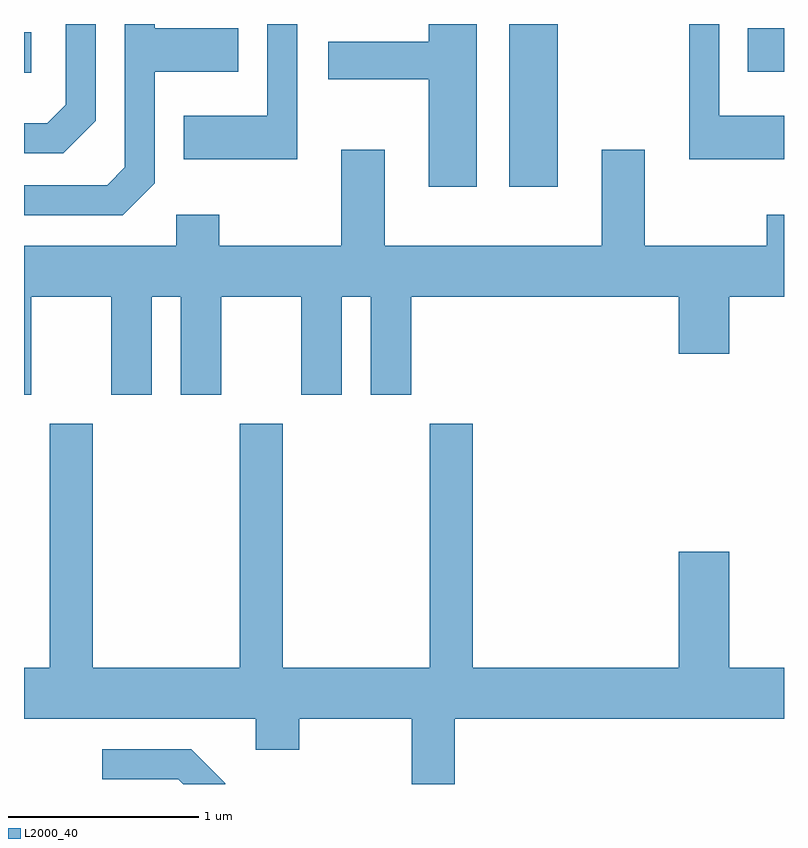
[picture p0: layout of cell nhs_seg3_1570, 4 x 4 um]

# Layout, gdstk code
import gdstk
lib = gdstk.Library(unit=1e-6, precision=1e-09)
def R(c, l, rs):  # rectangles x0, y0, x1, y1
    for r in rs: c.add(gdstk.rectangle(r[:2], r[2:], *l))
def P(c, l, *ps):  # polygons
    for p in ps: c.add(gdstk.Polygon(p, *l))
L2000_40 = (2000, 40)

nhs_seg3_1570 = lib.new_cell('nhs_seg3_1570')
R(nhs_seg3_1570, L2000_40, [(234.166,1131.036,234.419,1131.892), (231.611,1131.636,231.649,1131.849), (235.421,1131.641,235.611,1131.869)])
P(nhs_seg3_1570, L2000_40, [(232.299,1131.054),(232.299,1131.641),(232.739,1131.641),(232.739,1131.869),(232.299,1131.869),(232.299,1131.892),(232.141,1131.892),(232.141,1131.137),(232.049,1131.044),(231.611,1131.044),(231.611,1130.886),(232.132,1130.886)],
  [(235.611,1131.409),(235.269,1131.409),(235.269,1131.892),(235.111,1131.892),(235.111,1131.181),(235.611,1131.181)],
  [(233.049,1131.892),(232.891,1131.892),(232.891,1131.409),(232.451,1131.409),(232.451,1131.181),(233.049,1131.181)],
  [(231.989,1131.384),(231.989,1131.892),(231.831,1131.892),(231.831,1131.467),(231.734,1131.369),(231.611,1131.369),(231.611,1131.211),(231.817,1131.211)],
  [(233.994,1131.892),(233.741,1131.892),(233.741,1131.799),(233.211,1131.799),(233.211,1131.601),(233.741,1131.601),(233.741,1131.036),(233.994,1131.036)],
  [(231.649,1130.456),(232.071,1130.456),(232.071,1129.941),(232.284,1129.941),(232.284,1130.456),(232.436,1130.456),(232.436,1129.941),(232.649,1129.941),(232.649,1130.456),(233.071,1130.456),(233.071,1129.941),(233.284,1129.941),(233.284,1130.456),(233.436,1130.456),(233.436,1129.941),(233.649,1129.941),(233.649,1130.456),(235.056,1130.456),(235.056,1130.156),(235.324,1130.156),(235.324,1130.456),(235.611,1130.456),(235.611,1130.889),(235.521,1130.889),(235.521,1130.724),(234.879,1130.724),(234.879,1131.229),(234.651,1131.229),(234.651,1130.724),(233.509,1130.724),(233.509,1131.229),(233.281,1131.229),(233.281,1130.724),(232.639,1130.724),(232.639,1130.889),(232.411,1130.889),(232.411,1130.724),(231.611,1130.724),(231.611,1129.941),(231.649,1129.941)],
  [(233.879,1128.236),(235.611,1128.236),(235.611,1128.504),(235.324,1128.504),(235.324,1129.114),(235.056,1129.114),(235.056,1128.504),(233.974,1128.504),(233.974,1129.789),(233.746,1129.789),(233.746,1128.504),(232.974,1128.504),(232.974,1129.789),(232.746,1129.789),(232.746,1128.504),(231.974,1128.504),(231.974,1129.789),(231.746,1129.789),(231.746,1128.504),(231.611,1128.504),(231.611,1128.236),(232.831,1128.236),(232.831,1128.071),(233.059,1128.071),(233.059,1128.236),(233.651,1128.236),(233.651,1127.892),(233.879,1127.892)],
  [(232.669,1127.897),(232.492,1128.074),(232.023,1128.074),(232.023,1127.916),(232.424,1127.916),(232.448,1127.892),(232.669,1127.892)])

lib.write_gds('nhs_seg3_1570.gds')
